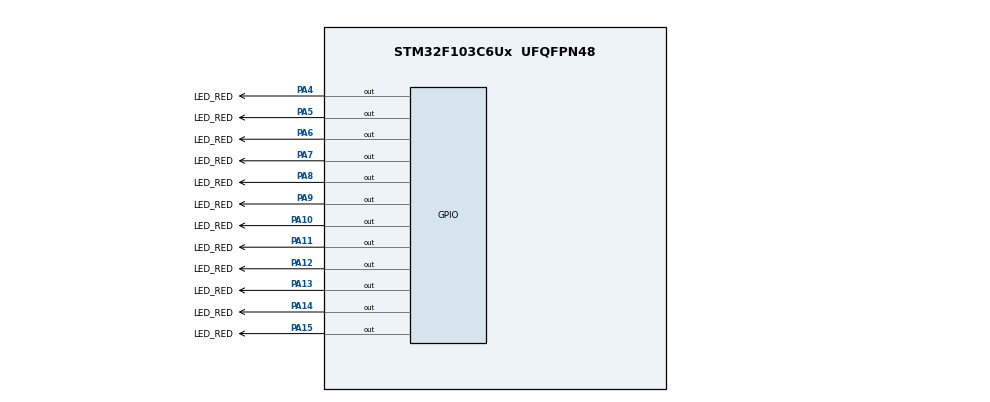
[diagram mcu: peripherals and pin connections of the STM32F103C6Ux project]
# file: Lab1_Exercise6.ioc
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Mcu.Family=STM32F1
Mcu.Name=STM32F103C6Ux
Mcu.Package=UFQFPN48
NVIC.PriorityGroup=NVIC_PRIORITYGROUP_4
PA10.GPIO_Label=LED_RED
PA10.PinState=GPIO_PIN_SET
PA10.Signal=GPIO_Output
PA11.GPIO_Label=LED_RED
PA11.PinState=GPIO_PIN_SET
PA11.Signal=GPIO_Output
PA12.GPIO_Label=LED_RED
PA12.PinState=GPIO_PIN_SET
PA12.Signal=GPIO_Output
PA13.GPIO_Label=LED_RED
PA13.PinState=GPIO_PIN_SET
PA13.Signal=GPIO_Output
PA14.GPIO_Label=LED_RED
PA14.PinState=GPIO_PIN_SET
PA14.Signal=GPIO_Output
PA15.GPIO_Label=LED_RED
PA15.PinState=GPIO_PIN_SET
PA15.Signal=GPIO_Output
PA4.GPIO_Label=LED_RED
PA4.PinState=GPIO_PIN_SET
PA4.Signal=GPIO_Output
PA5.GPIO_Label=LED_RED
PA5.PinState=GPIO_PIN_SET
PA5.Signal=GPIO_Output
PA6.GPIO_Label=LED_RED
PA6.PinState=GPIO_PIN_SET
PA6.Signal=GPIO_Output
PA7.GPIO_Label=LED_RED
PA7.PinState=GPIO_PIN_SET
PA7.Signal=GPIO_Output
PA8.GPIO_Label=LED_RED
PA8.PinState=GPIO_PIN_SET
PA8.Signal=GPIO_Output
PA9.GPIO_Label=LED_RED
PA9.PinState=GPIO_PIN_SET
PA9.Signal=GPIO_Output
ProjectManager.HeapSize=0x200
ProjectManager.StackSize=0x400
ProjectManager.TargetToolchain=STM32CubeIDE
RCC.APB1Freq_Value=8000000
RCC.APB2Freq_Value=8000000
VP_SYS_VS_ND.Mode=No_Debug
board=custom

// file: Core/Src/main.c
/* USER CODE BEGIN Header */
/**
  ******************************************************************************
  * @file           : main.c
  * @brief          : Main program body
  ******************************************************************************
  * @attention
  *
  * <h2><center>&copy; Copyright (c) 2026 STMicroelectronics.
  * All rights reserved.</center></h2>
  *
  * This software component is licensed by ST under BSD 3-Clause license,
  * the "License"; You may not use this file except in compliance with the
  * License. You may obtain a copy of the License at:
  *                        opensource.org/licenses/BSD-3-Clause
  *
  ******************************************************************************
  */
/* USER CODE END Header */
#include "main.h"

/* USER CODE BEGIN PV */
uint8_t counter_ex6 = 0;
/* USER CODE END PV */

void SystemClock_Config(void);
static void MX_GPIO_Init(void);

/* USER CODE BEGIN 0 */

void EX6_RUN(void)
{

    HAL_GPIO_WritePin(GPIOA,
                      GPIO_PIN_4  | GPIO_PIN_5  | GPIO_PIN_6  |
                      GPIO_PIN_7  | GPIO_PIN_8  | GPIO_PIN_9  |
                      GPIO_PIN_10 | GPIO_PIN_11 | GPIO_PIN_12 |
                      GPIO_PIN_13 | GPIO_PIN_14 | GPIO_PIN_15,
                      GPIO_PIN_SET);

    switch (counter_ex6)
    {
        case 0:
            HAL_GPIO_WritePin(GPIOA, GPIO_PIN_4, GPIO_PIN_RESET);
            break;

        case 1:
            HAL_GPIO_WritePin(GPIOA, GPIO_PIN_5, GPIO_PIN_RESET);
            break;

        case 2:
            HAL_GPIO_WritePin(GPIOA, GPIO_PIN_6, GPIO_PIN_RESET);
            break;

        case 3:
            HAL_GPIO_WritePin(GPIOA, GPIO_PIN_7, GPIO_PIN_RESET);
            break;

        case 4:
            HAL_GPIO_WritePin(GPIOA, GPIO_PIN_8, GPIO_PIN_RESET);
            break;

        case 5:
            HAL_GPIO_WritePin(GPIOA, GPIO_PIN_9, GPIO_PIN_RESET);
            break;

        case 6:
            HAL_GPIO_WritePin(GPIOA, GPIO_PIN_10, GPIO_PIN_RESET);
            break;

        case 7:
            HAL_GPIO_WritePin(GPIOA, GPIO_PIN_11, GPIO_PIN_RESET);
            break;

        case 8:
            HAL_GPIO_WritePin(GPIOA, GPIO_PIN_12, GPIO_PIN_RESET);
            break;

        case 9:
            HAL_GPIO_WritePin(GPIOA, GPIO_PIN_13, GPIO_PIN_RESET);
            break;

        case 10:
            HAL_GPIO_WritePin(GPIOA, GPIO_PIN_14, GPIO_PIN_RESET);
            break;

        case 11:
            HAL_GPIO_WritePin(GPIOA, GPIO_PIN_15, GPIO_PIN_RESET);
            break;
    }

    counter_ex6++;

    if (counter_ex6 >= 12)
    {
        counter_ex6 = 0;
    }
}

/* USER CODE END 0 */

int main(void)
{

  /* MCU Configuration--------------------------------------------------------*/

  /* Reset of all peripherals, Initializes the Flash interface and the Systick. */
  HAL_Init();

  /* Configure the system clock */
  SystemClock_Config();

  /* Initialize all configured peripherals */
  MX_GPIO_Init();

  /* Infinite loop */
  while (1)
  {
	  EX6_RUN();
      HAL_Delay(1000);
  }
}

void SystemClock_Config(void)
{
  RCC_OscInitTypeDef RCC_OscInitStruct = {0};
  RCC_ClkInitTypeDef RCC_ClkInitStruct = {0};

  /** Initializes the RCC Oscillators according to the specified parameters
  * in the RCC_OscInitTypeDef structure.
  */
  RCC_OscInitStruct.OscillatorType = RCC_OSCILLATORTYPE_HSI;
  RCC_OscInitStruct.HSIState = RCC_HSI_ON;
  RCC_OscInitStruct.HSICalibrationValue = RCC_HSICALIBRATION_DEFAULT;
  RCC_OscInitStruct.PLL.PLLState = RCC_PLL_NONE;
  if (HAL_RCC_OscConfig(&RCC_OscInitStruct) != HAL_OK)
  {
    Error_Handler();
  }
  /** Initializes the CPU, AHB and APB buses clocks
  */
  RCC_ClkInitStruct.ClockType = RCC_CLOCKTYPE_HCLK|RCC_CLOCKTYPE_SYSCLK
                              |RCC_CLOCKTYPE_PCLK1|RCC_CLOCKTYPE_PCLK2;
  RCC_ClkInitStruct.SYSCLKSource = RCC_SYSCLKSOURCE_HSI;
  RCC_ClkInitStruct.AHBCLKDivider = RCC_SYSCLK_DIV1;
  RCC_ClkInitStruct.APB1CLKDivider = RCC_HCLK_DIV1;
  RCC_ClkInitStruct.APB2CLKDivider = RCC_HCLK_DIV1;

  if (HAL_RCC_ClockConfig(&RCC_ClkInitStruct, FLASH_LATENCY_0) != HAL_OK)
  {
    Error_Handler();
  }
}

static void MX_GPIO_Init(void)
{
  GPIO_InitTypeDef GPIO_InitStruct = {0};

  /* GPIO Ports Clock Enable */
  __HAL_RCC_GPIOA_CLK_ENABLE();

  /*Configure GPIO pin Output Level */
  HAL_GPIO_WritePin(GPIOA, LED_RED_Pin|LED_REDA5_Pin|LED_REDA6_Pin|LED_REDA7_Pin
                          |LED_REDA8_Pin|LED_REDA9_Pin|LED_REDA10_Pin|LED_REDA11_Pin
                          |LED_REDA12_Pin|LED_REDA13_Pin|LED_REDA14_Pin|LED_REDA15_Pin, GPIO_PIN_SET);

  /*Configure GPIO pins : LED_RED_Pin LED_REDA5_Pin LED_REDA6_Pin LED_REDA7_Pin
                           LED_REDA8_Pin LED_REDA9_Pin LED_REDA10_Pin LED_REDA11_Pin
                           LED_REDA12_Pin LED_REDA13_Pin LED_REDA14_Pin LED_REDA15_Pin */
  GPIO_InitStruct.Pin = LED_RED_Pin|LED_REDA5_Pin|LED_REDA6_Pin|LED_REDA7_Pin
                          |LED_REDA8_Pin|LED_REDA9_Pin|LED_REDA10_Pin|LED_REDA11_Pin
                          |LED_REDA12_Pin|LED_REDA13_Pin|LED_REDA14_Pin|LED_REDA15_Pin;
  GPIO_InitStruct.Mode = GPIO_MODE_OUTPUT_PP;
  GPIO_InitStruct.Pull = GPIO_NOPULL;
  GPIO_InitStruct.Speed = GPIO_SPEED_FREQ_LOW;
  HAL_GPIO_Init(GPIOA, &GPIO_InitStruct);

}

void Error_Handler(void)
{
  __disable_irq();
  while (1)
  {
  }
}

/************************ (C) COPYRIGHT STMicroelectronics *****END OF FILE****/
